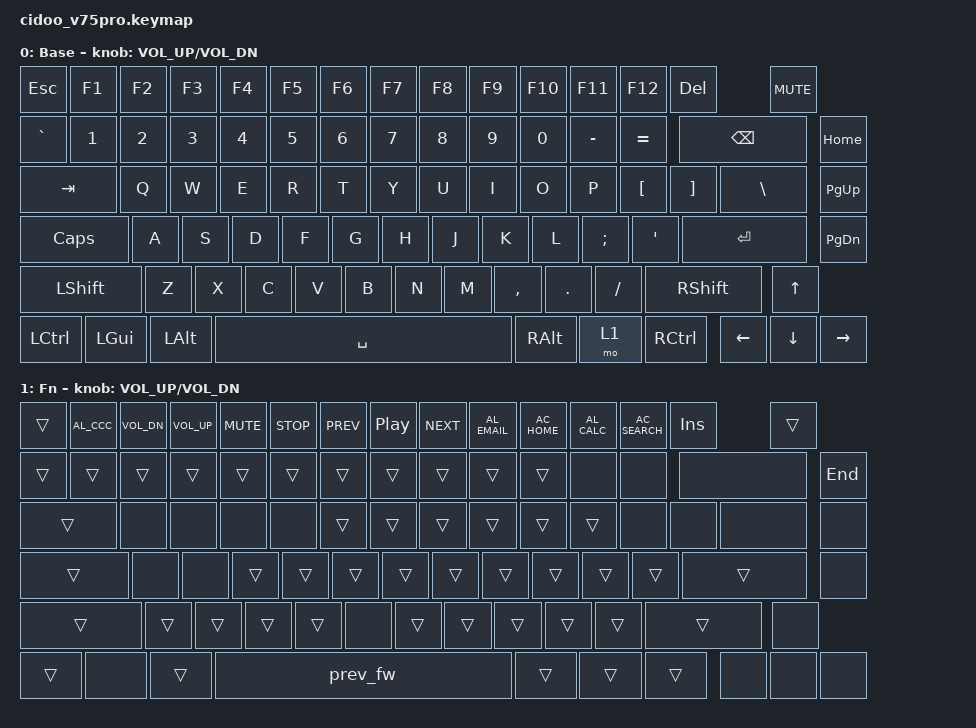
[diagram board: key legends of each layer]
/*
 * SPDX-License-Identifier: GPL-3.0-or-later
 */

/*
 * CIDOO V75 Pro default keymap.
 * Generated by gen_v75pro.py from the original keymap's layers 0 (Base) and 1 (Fn).
 * Original knob: left = &kp C_VOL_DN, right = &kp C_VOL_UP, press = 0,14.
 */

#include <behaviors.dtsi>
#include <dt-bindings/zmk/keys.h>

/ {
    keymap {
        compatible = "zmk,keymap";

        base_layer {
            display-name = "Base";
            bindings = <
                &kp ESC         &kp F1          &kp F2          &kp F3          &kp F4          &kp F5          &kp F6          &kp F7          &kp F8          &kp F9          &kp F10         &kp F11         &kp F12         &kp DEL         &kp C_MUTE
                &kp GRAVE       &kp N1          &kp N2          &kp N3          &kp N4          &kp N5          &kp N6          &kp N7          &kp N8          &kp N9          &kp N0          &kp MINUS       &kp EQUAL       &kp BSPC        &kp HOME
                &kp TAB         &kp Q           &kp W           &kp E           &kp R           &kp T           &kp Y           &kp U           &kp I           &kp O           &kp P           &kp LBKT        &kp RBKT        &kp BSLH        &kp PG_UP
                &kp CAPS        &kp A           &kp S           &kp D           &kp F           &kp G           &kp H           &kp J           &kp K           &kp L           &kp SEMI        &kp SQT         &kp RET         &kp PG_DN
                &kp LSHFT       &kp Z           &kp X           &kp C           &kp V           &kp B           &kp N           &kp M           &kp COMMA       &kp DOT         &kp FSLH        &kp RSHFT       &kp UP
                &kp LCTRL       &kp LGUI        &kp LALT        &kp SPACE       &kp RALT        &mo 1           &kp RCTRL       &kp LEFT        &kp DOWN        &kp RIGHT
            >;
            sensor-bindings = <&inc_dec_kp C_VOL_UP C_VOL_DN>;
        };

        fn_layer {
            /* Original bindings left out (matrix row,col):
             *   1,11: RGB_SPD (no RGB yet)
             *   1,12: RGB_SPI (no RGB yet)
             *   1,13: RGB_TOG (no RGB yet)
             *   2,1: BT 1 (original firmware only)
             *   2,2: BT 2 (original firmware only)
             *   2,3: BT 3 (original firmware only)
             *   2,4: 2.4G MODE (original firmware only)
             *   2,11: RGB_SAI (no RGB yet)
             *   2,12: RGB_SAD (no RGB yet)
             *   2,13: RGB_MOD (no RGB yet)
             *   2,14: LED LOGO MODE (original firmware only)
             *   3,1: WIN MODE (original firmware only)
             *   3,2: MAC MODE (original firmware only)
             *   3,14: LED LOGO COLOUR (original firmware only)
             *   4,6: BATT ST (original firmware only)
             *   4,13: RGB_VAI (no RGB yet)
             *   5,1: LOCK WIN KEY (original firmware only)
             *   5,12: RGB_HUD (no RGB yet)
             *   5,13: RGB_VAD (no RGB yet)
             *   5,14: RGB_HUI (no RGB yet)
             */
            display-name = "Fn";
            bindings = <
                &trans          &kp C_AL_CCC    &kp C_VOL_DN    &kp C_VOL_UP    &kp C_MUTE      &kp C_STOP      &kp C_PREV      &kp C_PP        &kp C_NEXT      &kp C_AL_EMAIL  &kp C_AC_HOME   &kp C_AL_CALC   &kp C_AC_SEARCH &kp INS         &trans
                &trans          &trans          &trans          &trans          &trans          &trans          &trans          &trans          &trans          &trans          &trans          &none           &none           &none           &kp END
                &trans          &none           &none           &none           &none           &trans          &trans          &trans          &trans          &trans          &trans          &none           &none           &none           &none
                &trans          &none           &none           &trans          &trans          &trans          &trans          &trans          &trans          &trans          &trans          &trans          &trans          &none
                &trans          &trans          &trans          &trans          &trans          &none           &trans          &trans          &trans          &trans          &trans          &trans          &none
                &trans          &none           &trans          &prev_fw        &trans          &trans          &trans          &none           &none           &none
            >;
            sensor-bindings = <&inc_dec_kp C_VOL_UP C_VOL_DN>;
        };
    };
};

/* Not on these keyboards: &sys_reset only reboots (settings stay), and &bootloader has no
 * bootloader to enter (firmware updates go through the update tool). */
&sys_reset {
	status = "disabled";
};

&bootloader {
	status = "disabled";
};
